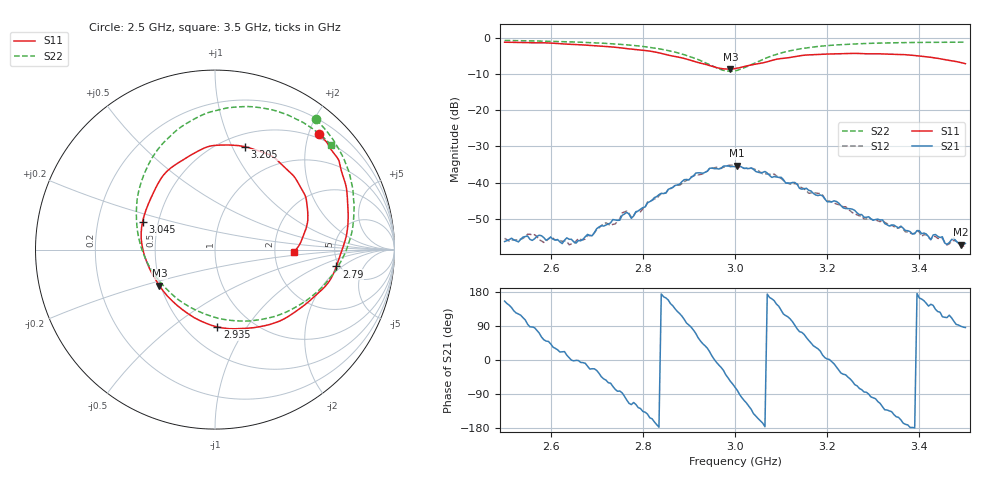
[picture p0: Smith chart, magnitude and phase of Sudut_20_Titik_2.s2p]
# Hz S RI R 50
! CMT, C1220, 16058040, 17.2.0/1
! Date: 15/08/2018 10:47:49
! Data: Format (Calibration Info)
! Freq  S11: Re/Im (F2)  S21: Re/Im (F2)  S12: Re/Im (F2)  S22: Re/Im (F2)
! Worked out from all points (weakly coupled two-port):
!   201 points, 2.5 GHz to 3.5 GHz, reference 50 ohm
!   highest |S21| = -35.30 dB at 3.005 GHz (marker M1); lowest = -57.2 dB at 3.49 GHz (marker M2)
!   lowest |S11| = -8.7 dB at 2.99 GHz (marker M3), VSWR 2.17, Z = 24.6 - j11.4 ohm
!   |S11| at or under -10 dB: nowhere
!   |S22| runs from -9.2 to -0.7 dB; largest |S21 - S12| = 0.0011
!   S11 on the Smith chart (normalised r, x): 2.5 GHz: 0.42, +2.18; 2.79 GHz: 4.70, -1.65; 2.935 GHz: 0.70, -0.74; 3.045 GHz: 0.41, +0.15; 3.205 GHz: 0.63, +1.12; 3.5 GHz: 2.56, -0.08
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2.5e9  0.5815 0.6449  -0.00139 0.000637  -0.00154 0.000702  0.5633 0.7252
2.555e9  0.6427 0.5626  7.48e-05 0.00164  -7.89e-06 0.00194  0.6243 0.658
2.575e9  0.6734 0.5226  0.000601 0.00177  0.000796 0.00141  0.6463 0.6288
2.625e9  0.7115 0.414  0.00133 0.000528  0.00145 0.000493  0.6978 0.5457
2.67e9  0.7364 0.3038  0.00163 -0.000198  0.00159 -0.000281  0.7382 0.4546
2.715e9  0.7418 0.1681  0.00162 -0.00191  0.00176 -0.00203  0.7664 0.3433
2.74e9  0.7342 0.0896  0.000659 -0.00296  0.000827 -0.00255  0.7728 0.2732
2.755e9  0.7198 0.0345  0.000214 -0.00351  0.000397 -0.00378  0.775 0.2283
2.775e9  0.697 -0.0332  -0.00149 -0.00284  -0.00157 -0.00292  0.7716 0.1614
2.79e9  0.6763 -0.0939  -0.00237 -0.00329  -0.00246 -0.00304  0.7648 0.1088
2.835e9  0.5671 -0.2502  -0.0068 -0.000328  -0.00655 -0.000478  0.7015 -0.0663
2.935e9  0.0127 -0.4309  0.011 0.00842  0.0106 0.00889  0.2248 -0.3939
2.99e9  -0.3098 -0.2005  0.00918 -0.0138  0.00992 -0.0143  -0.2106 -0.2747
3e9  -0.3486 -0.139  0.00519 -0.0158  0.00437 -0.0161  -0.2758 -0.2136
3.005e9  -0.365 -0.1048  0.00294 -0.0169  0.00222 -0.0164  -0.3057 -0.1808
3.045e9  -0.4038 0.1528  -0.012 -0.00761  -0.0126 -0.00823  -0.4351 0.1314
3.1e9  -0.2502 0.4518  -0.00789 0.00884  -0.00721 0.00887  -0.354 0.5055
3.17e9  0.0343 0.5825  0.00561 0.00432  0.00531 0.00478  -0.09 0.7411
3.205e9  0.1668 0.5731  0.00543 0.000118  0.00554 -0.000293  0.0384 0.7829
3.335e9  0.4662 0.3667  -0.00176 -0.00179  -0.00182 -0.00174  0.3916 0.7553
3.49e9  0.4546 0.00471  2.12e-05 0.00138  0.000128 0.00144  0.6334 0.5957
3.5e9  0.4389 -0.0123  0.00011 0.00144  0.000175 0.00132  0.6445 0.5844
